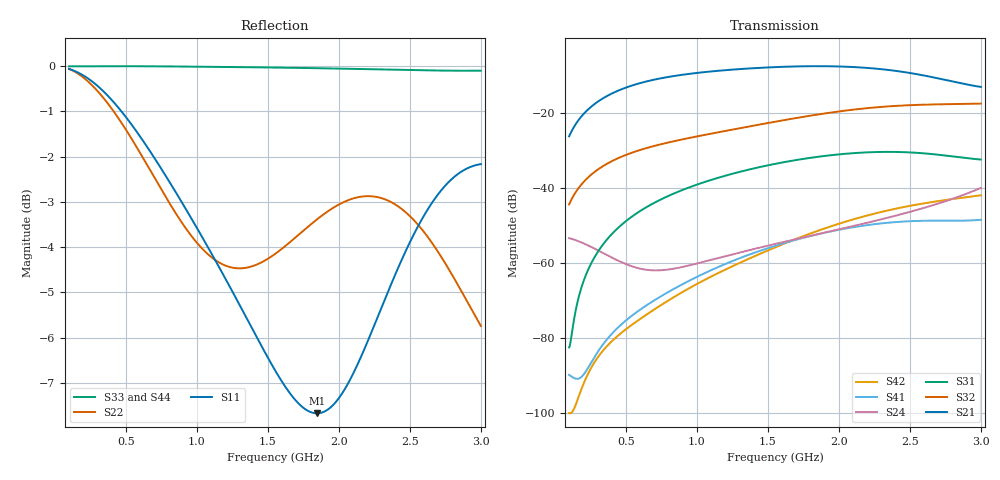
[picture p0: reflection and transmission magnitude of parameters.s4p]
# Hz S RI R 50
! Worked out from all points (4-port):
!   2001 points, 100 MHz to 3 GHz, reference 50 ohm
!   strongest paths, dB at 100 MHz, 825 MHz, 1.55 GHz, 2.275 GHz, 3 GHz:
!     S21: -26.3, -10.3, -7.8, -8.3, -13.1
!     S32: -44.4, -27.7, -22.4, -18.5, -17.5
!     S31: -82.5, -41.7, -33.6, -30.4, -32.4
!     S24: -53.4, -61.6, -54.9, -48.6, -40.0
!     S41: -89.8, -67.2, -55.5, -49.6, -48.5
!     S42: -100.0, -69.4, -55.9, -46.6, -42.0
!   lowest |S11| = -7.7 dB at 1.846 GHz (marker M1), VSWR 2.41, Z = 119 - j11 ohm
!   |S11| at or under -10 dB: nowhere
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1e8  0.9902 -0.0695  0.0072 0.0458  0.0025 -0.00136  -0.000275 -3.22e-05
     0.00979 0.0476  0.989 -0.0886  -0.0038 0.00847  0.00195 -0.000875
     -1.1e-05 -7.4e-05  0.000325 0.00601  0.9993 -0.014  5.74e-05 -1.51e-05
     2.16e-05 -2.39e-05  2.67e-06 -9.59e-06  -1.64e-06 -1.85e-06  -0.9948 0.00316
2.566e8  0.9484 -0.1678  0.0499 0.1032  -7.7e-05 -0.00184  -0.000366 3.35e-05
         0.0557 0.1077  0.931 -0.2084  0.00123 0.0188  0.000802 -0.00142
         -0.000918 0.000388  0.00196 0.0149  0.999 -0.036  3.86e-05 -2.9e-05
         -4.53e-05 -1.43e-05  -4.01e-05 4.8e-06  -4.71e-06 -1.02e-06  -0.9974 0.01
5.3645e8  0.8168 -0.2791  0.1712 0.1347  -0.00344 0.00239  -0.000338 0.00037
          0.1868 0.1329  0.7673 -0.3243  0.00874 0.029  -0.000556 -0.000719
          -0.00221 0.00342  0.00658 0.0284  0.9969 -0.076  5.5e-06 -3.24e-05
          -0.000135 0.00014  -0.000113 9.43e-05  -3.64e-06 4.26e-06  -1 0.026
1.2049e9  0.523 -0.2525  0.3564 -0.1025  0.00523 0.0141  0.000577 0.000851
          0.3504 -0.1221  0.546 -0.2526  0.0141 0.0558  -0.000244 0.00121
          0.00539 0.0136  0.015 0.0556  0.983 -0.1713  -5.65e-05 5.55e-07
          0.000311 0.000926  -0.000228 0.000791  -3.45e-05 -1.22e-05  -0.9976 0.0641
1.8458e9  0.4116 -0.0384  0.1798 -0.3858  0.0237 0.00956  0.0019 0.000183
          0.1615 -0.3864  0.6103 -0.2932  0.0313 0.0891  0.00174 0.00165
          0.0244 0.0086  0.0306 0.0896  0.9594 -0.2626  -9.01e-05 0.000115
          0.00238 0.000272  0.00148 0.0022  -0.000129 0.000107  -0.9924 0.0966
2.44175e9  0.595 0.1371  -0.1333 -0.3316  0.0292 -0.0132  0.00274 -0.00213
           -0.1426 -0.3235  0.4678 -0.5144  0.064 0.1081  0.00447 8.05e-05
           0.0265 -0.0141  0.0652 0.1067  0.9276 -0.347  4.48e-06 0.000356
           0.00206 -0.00289  0.00546 -0.000438  3.61e-05 0.000442  -0.9903 0.1254
3e9  0.779 -0.0213  -0.1681 -0.1531  0.00672 -0.0211  0.000287 -0.0073
     -0.1678 -0.1448  0.2003 -0.4758  0.0868 0.0987  0.00739 -0.00673
     0.0131 -0.0199  0.0835 0.1034  0.8919 -0.426  0.000676 0.000764
     -6.92e-05 -0.00376  0.00408 -0.00684  0.000833 0.000412  -0.9952 0.1622
